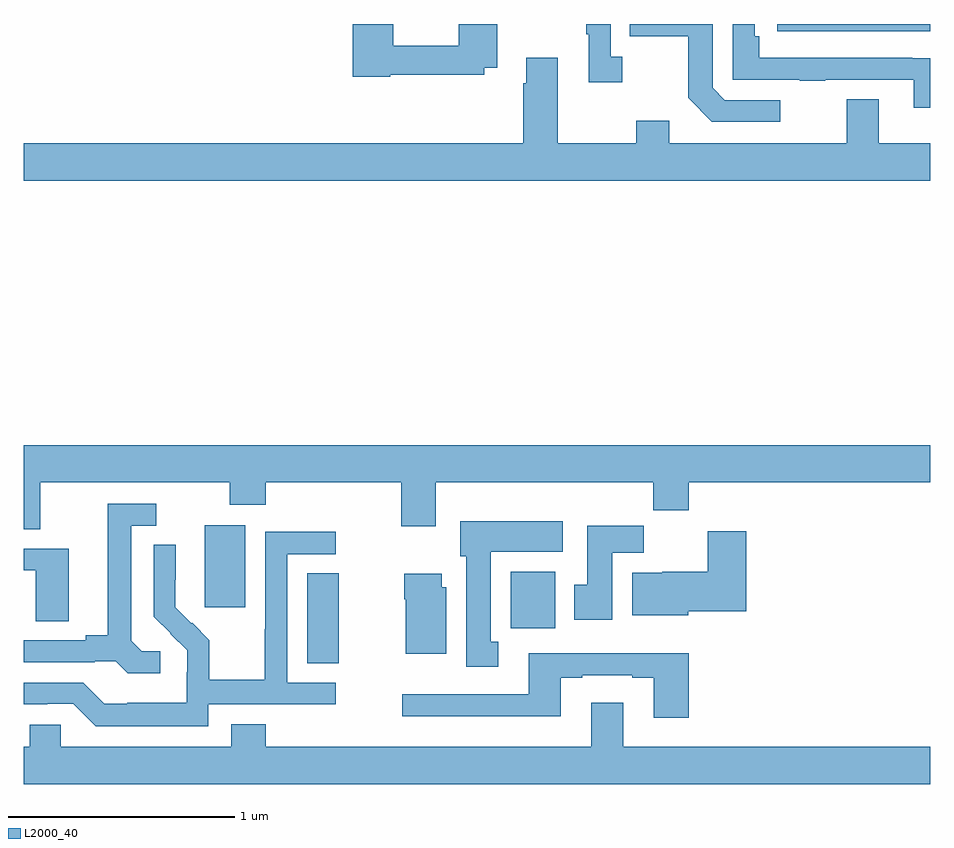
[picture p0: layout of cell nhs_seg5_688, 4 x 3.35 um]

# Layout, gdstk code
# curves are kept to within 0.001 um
import gdstk
lib = gdstk.Library(unit=1e-6, precision=1e-09)
def R(c, l, rs):  # rectangles x0, y0, x1, y1
    for r in rs: c.add(gdstk.rectangle(r[:2], r[2:], *l))
def P(c, l, *ps):  # polygons
    for p in ps: c.add(gdstk.Polygon(p, *l))
L2000_40 = (2000, 40)

nhs_seg5_688 = lib.new_cell('nhs_seg5_688')
R(nhs_seg5_688, L2000_40, [(156.251,839.977,156.39,840.374), (157.149,840.132,157.345,840.382), (155.798,840.225,155.977,840.586), (158.325,842.766,159,842.799)])
P(nhs_seg5_688, L2000_40, [(156.618,842.574),(157.032,842.574),(157.032,842.606),(157.089,842.606),(157.089,842.799),(156.919,842.799),(156.919,842.702),(156.63,842.702),(156.63,842.799),(156.452,842.799),(156.452,842.566),(156.618,842.566)],
  [(159,842.648),(158.921,842.648),(158.921,842.649),(158.246,842.649),(158.246,842.746),(158.226,842.746),(158.226,842.799),(158.13,842.799),(158.13,842.553),(158.425,842.553),(158.425,842.548),(158.537,842.548),(158.537,842.553),(158.927,842.553),(158.927,842.43),(159,842.43)],
  [(157.642,842.654),(157.59,842.654),(157.59,842.799),(157.482,842.799),(157.482,842.753),(157.493,842.753),(157.493,842.541),(157.642,842.541)],
  [(158.338,842.463),(158.094,842.463),(158.04,842.517),(158.04,842.799),(157.675,842.799),(157.675,842.746),(157.932,842.746),(157.932,842.473),(158.037,842.367),(158.338,842.367)],
  [(159,842.272),(158.773,842.272),(158.773,842.467),(158.633,842.467),(158.633,842.272),(157.849,842.272),(157.849,842.371),(157.702,842.371),(157.702,842.272),(157.357,842.272),(157.357,842.65),(157.217,842.65),(157.217,842.537),(157.205,842.537),(157.205,842.272),(155,842.272),(155,842.108),(159,842.108)],
  [(155.071,840.776),(155.908,840.776),(155.908,840.677),(156.068,840.677),(156.068,840.776),(156.665,840.776),(156.665,840.582),(156.817,840.582),(156.817,840.776),(157.777,840.776),(157.777,840.652),(157.934,840.652),(157.934,840.776),(159,840.776),(159,840.94),(155,840.94),(155,840.568),(155.071,840.568)],
  [(155.602,840.03),(155.52,840.03),(155.473,840.077),(155.473,840.585),(155.584,840.585),(155.584,840.681),(155.369,840.681),(155.369,840.101),(155.273,840.101),(155.273,840.078),(155,840.078),(155,839.982),(155.312,839.982),(155.312,839.985),(155.406,839.985),(155.458,839.933),(155.602,839.933)],
  [(157.093,840.073),(157.06,840.073),(157.06,840.47),(157.378,840.47),(157.378,840.604),(156.926,840.604),(156.926,840.45),(156.953,840.45),(156.953,839.961),(157.093,839.961)],
  [(157.597,840.464),(157.736,840.464),(157.736,840.583),(157.487,840.583),(157.487,840.324),(157.43,840.324),(157.43,840.168),(157.597,840.168)],
  [(157.932,840.206),(158.189,840.206),(158.189,840.559),(158.018,840.559),(158.018,840.382),(157.818,840.382),(157.818,840.376),(157.685,840.376),(157.685,840.188),(157.932,840.188)],
  [(155.814,839.796),(156.376,839.796),(156.376,839.892),(156.162,839.892),(156.162,840.459),(156.376,840.459),(156.376,840.558),(156.066,840.558),(156.066,840.128),(156.064,840.128),(156.064,839.905),(155.819,839.905),(155.819,840.079),(155.742,840.156),(155.739,840.153),(155.669,840.224),(155.67,840.5),(155.574,840.5),(155.574,840.182),(155.72,840.034),(155.72,839.937),(155.718,839.937),(155.718,839.803),(155.455,839.803),(155.455,839.799),(155.355,839.799),(155.262,839.892),(155,839.892),(155,839.796),(155.102,839.796),(155.102,839.799),(155.217,839.799),(155.317,839.699),(155.814,839.699)],
  [(155.197,840.483),(155,840.483),(155,840.387),(155.052,840.387),(155.052,840.163),(155.197,840.163)],
  [(156.865,840.312),(156.844,840.312),(156.844,840.373),(156.679,840.373),(156.679,840.26),(156.686,840.26),(156.686,840.02),(156.865,840.02)],
  [(157.934,840.022),(157.229,840.022),(157.229,839.841),(156.669,839.841),(156.669,839.744),(157.369,839.744),(157.369,839.913),(157.465,839.913),(157.465,839.925),(157.685,839.925),(157.685,839.913),(157.781,839.913),(157.781,839.736),(157.934,839.736)],
  [(159,839.608),(157.645,839.608),(157.645,839.803),(157.505,839.803),(157.505,839.608),(156.068,839.608),(156.068,839.707),(155.915,839.707),(155.915,839.608),(155.163,839.608),(155.163,839.706),(155.025,839.706),(155.025,839.608),(155,839.608),(155,839.444),(159,839.444)])

lib.write_gds('nhs_seg5_688.gds')
